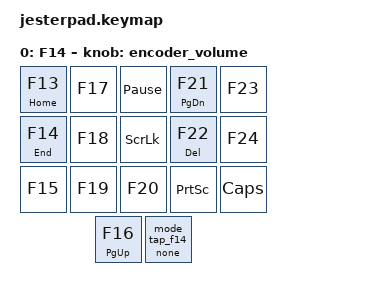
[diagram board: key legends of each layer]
#include <behaviors.dtsi>
#include <dt-bindings/zmk/keys.h>
#include <dt-bindings/zmk/bt.h>
#include <dt-bindings/zmk/outputs.h>
#include <dt-bindings/zmk/rgb.h>

#define L_NUMPAD 0
#define L_MACROS 1
#define L_F14 2
#define L_F4 3
#define L_ADMIN 4

/ {
    macros {
        mode_to_numpad: mode_to_numpad {
            compatible = "zmk,behavior-macro";
            #binding-cells = <0>;
            wait-ms = <0>;
            tap-ms = <0>;
            bindings = <&macro_tap &rgb_mode_numpad>, <&macro_tap &to L_NUMPAD>;
        };

        mode_to_macros: mode_to_macros {
            compatible = "zmk,behavior-macro";
            #binding-cells = <0>;
            wait-ms = <0>;
            tap-ms = <0>;
            bindings = <&macro_tap &rgb_mode_macros>, <&macro_tap &to L_MACROS>;
        };

        mode_to_f14: mode_to_f14 {
            compatible = "zmk,behavior-macro";
            #binding-cells = <0>;
            wait-ms = <0>;
            tap-ms = <0>;
            bindings = <&macro_tap &rgb_mode_f14>, <&macro_tap &to L_F14>;
        };

        mode_to_f4: mode_to_f4 {
            compatible = "zmk,behavior-macro";
            #binding-cells = <0>;
            wait-ms = <0>;
            tap-ms = <0>;
            bindings = <&macro_tap &rgb_mode_f4>, <&macro_tap &to L_F4>;
        };

        mode_to_admin: mode_to_admin {
            compatible = "zmk,behavior-macro";
            #binding-cells = <0>;
            wait-ms = <0>;
            tap-ms = <0>;
            bindings = <&macro_tap &rgb_mode_admin>, <&macro_tap &to L_ADMIN>;
        };

        mode_tap_numpad: mode_tap_numpad {
            compatible = "zmk,behavior-macro";
            #binding-cells = <0>;
            wait-ms = <0>;
            tap-ms = <0>;
            bindings = <&macro_tap &none>;
        };

        mode_tap_macros: mode_tap_macros {
            compatible = "zmk,behavior-macro";
            #binding-cells = <0>;
            wait-ms = <0>;
            tap-ms = <0>;
            bindings = <&macro_tap &kp PSCRN>;
        };

        mode_tap_f14: mode_tap_f14 {
            compatible = "zmk,behavior-macro";
            #binding-cells = <0>;
            wait-ms = <0>;
            tap-ms = <0>;
            bindings = <&macro_tap &kp INS>;
        };

        mode_tap_f4: mode_tap_f4 {
            compatible = "zmk,behavior-macro";
            #binding-cells = <0>;
            wait-ms = <0>;
            tap-ms = <0>;
            bindings = <&macro_tap &none>;
        };

        mode_tap_admin: mode_tap_admin {
            compatible = "zmk,behavior-macro";
            #binding-cells = <0>;
            wait-ms = <0>;
            tap-ms = <0>;
            bindings = <&macro_tap &rgb_ug RGB_TOG>;
        };

        // (reserved for future macros)
    };

    behaviors { // Updated in commit f58f545 for volume encoder
        encoder_volume: encoder_volume {
            compatible = "zmk,behavior-sensor-rotate";
            #sensor-binding-cells = <0>;
            bindings = <&kp C_VOL_DN>, <&kp C_VOL_UP>;
        };

        // F-14 dual-function (tap/hold) keys.
        // Hold-tap requires two binding cells, but we don't need params; we pass 0 0 at use-sites.
        f14_25_tws: f14_25_tws {
            compatible = "zmk,behavior-hold-tap";
            #binding-cells = <2>;
            flavor = "tap-preferred";
            tapping-term-ms = <500>;
            bindings = <&kp &kp>;
        };

        f14_50_rws: f14_50_rws {
            compatible = "zmk,behavior-hold-tap";
            #binding-cells = <2>;
            flavor = "tap-preferred";
            tapping-term-ms = <500>;
            bindings = <&kp &kp>;
        };

        f14_200_400: f14_200_400 {
            compatible = "zmk,behavior-hold-tap";
            #binding-cells = <2>;
            flavor = "tap-preferred";
            tapping-term-ms = <500>;
            bindings = <&kp &kp>;
        };

        f14_r1_tacan: f14_r1_tacan {
            compatible = "zmk,behavior-hold-tap";
            #binding-cells = <2>;
            flavor = "tap-preferred";
            tapping-term-ms = <500>;
            bindings = <&kp &kp>;
        };

        f14_r2_datalink: f14_r2_datalink {
            compatible = "zmk,behavior-hold-tap";
            #binding-cells = <2>;
            flavor = "tap-preferred";
            tapping-term-ms = <500>;
            bindings = <&kp &kp>;
        };

        // Underglow effect indexes (ZMK core): 0=solid, 1=breathe, 2=spectrum, 3=swirl.
        rgb_mode_numpad: rgb_mode_numpad {
            compatible = "zmk,behavior-rgb-preset";
            #binding-cells = <0>;
            effect = <0>;
            h = <0>;
            s = <0>;
            b = <100>;
            speed = <3>;
        };

        rgb_mode_macros: rgb_mode_macros {
            compatible = "zmk,behavior-rgb-preset";
            #binding-cells = <0>;
            effect = <0>;
            h = <180>;
            s = <100>;
            b = <100>;
            speed = <3>;
        };

        rgb_mode_f14: rgb_mode_f14 {
            compatible = "zmk,behavior-rgb-preset";
            #binding-cells = <0>;
            effect = <0>;
            h = <30>;
            s = <100>;
            b = <100>;
            speed = <3>;
        };

        rgb_mode_f4: rgb_mode_f4 {
            compatible = "zmk,behavior-rgb-preset";
            #binding-cells = <0>;
            effect = <0>;
            h = <120>;
            s = <100>;
            b = <100>;
            speed = <3>;
        };

        rgb_mode_admin: rgb_mode_admin {
            compatible = "zmk,behavior-rgb-preset";
            #binding-cells = <0>;
            effect = <3>;
            h = <270>;
            s = <100>;
            b = <100>;
            speed = <1>;
        };

        mode_key_numpad: mode_key_numpad {
            compatible = "zmk,behavior-hold-tap";
            #binding-cells = <2>;
            flavor = "tap-preferred";
            tapping-term-ms = <2000>;
            bindings = <&mode_to_macros>, <&mode_tap_numpad>;
        };

        mode_key_macros: mode_key_macros {
            compatible = "zmk,behavior-hold-tap";
            #binding-cells = <2>;
            flavor = "tap-preferred";
            tapping-term-ms = <2000>;
            bindings = <&mode_to_f14>, <&mode_tap_macros>;
        };

        mode_key_f14: mode_key_f14 {
            compatible = "zmk,behavior-hold-tap";
            #binding-cells = <2>;
            flavor = "tap-preferred";
            tapping-term-ms = <2000>;
            bindings = <&none>, <&mode_tap_f14>;
        };

        mode_key_f4: mode_key_f4 {
            compatible = "zmk,behavior-hold-tap";
            #binding-cells = <2>;
            flavor = "tap-preferred";
            tapping-term-ms = <2000>;
            bindings = <&mode_to_admin>, <&mode_tap_f4>;
        };

        mode_key_admin: mode_key_admin {
            compatible = "zmk,behavior-hold-tap";
            #binding-cells = <2>;
            flavor = "tap-preferred";
            tapping-term-ms = <2000>;
            bindings = <&mode_to_numpad>, <&mode_tap_admin>;
        };

        bt_pair_hold: bt_pair_hold {
            compatible = "zmk,behavior-bt-hold";
            #binding-cells = <0>;
            hold-ms = <5000>;
            profile = <0>;
        };

        bt_clear_all_hold: bt_clear_all_hold {
            compatible = "zmk,behavior-bt-hold";
            #binding-cells = <0>;
            hold-ms = <10000>;
            clear-all;
            profile = <0>;
        };

        rgb_brightness_cycle: rgb_brightness_cycle {
            compatible = "zmk,behavior-rgb-cycle";
            #binding-cells = <0>;
            mode = "brightness";
        };

        rgb_speed_cycle: rgb_speed_cycle {
            compatible = "zmk,behavior-rgb-cycle";
            #binding-cells = <0>;
            mode = "speed";
        };
    };

    combos {
        compatible = "zmk,combos";

        pair_combo: pair_combo {
            timeout-ms = <500>;
            slow-release;
            key-positions = <0 5 10 15 16>; // 1, 6, Q, Y, U chord
            bindings = <&bt_pair_hold>;
        };
    };

    keymap {
        compatible = "zmk,keymap";
        default_layer {
            display-name = "F14";
            bindings = <
                // Column 1 (bottom -> top): 25nm, GND STAB, Jester Toggle, Radio 1, Ready/Pre-Contact
                &f14_25_tws HOME F13 &kp F17 &kp PAUSE_BREAK &f14_r1_tacan PG_DN F21 &kp F23

                // Column 2 (bottom -> top): 50nm, AC STAB, Torch, Radio 2, Ball Call
                &f14_50_rws END F14 &kp F18 &kp SCROLLLOCK &f14_r2_datalink DEL F22 &kp F24

                // Column 3 (bottom -> top): 100nm, Lock Specific, PSTT/PD-STT, Break Lock, Salute
                &kp F15 &kp F19 &kp F20 &kp PSCRN &kp CAPSLOCK

                // Column 4/5 bottom keys: 200nm, Range Auto (tap) / Mode cycle (hold)
                &f14_200_400 PG_UP F16 &mode_key_f14 0 0
            >;
            sensor-bindings = <&encoder_volume>;
        };

#if 0
        /* Disabled layers (kept for future use) */
        default_layer {
            display-name = "NUMPAD";
            bindings = <
                &kp KP_N0 &kp KP_N1 &kp KP_N4 &kp KP_N7 &kp KP_SLASH
                &kp KP_DOT &kp KP_N2 &kp KP_N5 &kp KP_N8 &kp KP_ASTERISK
                &kp KP_ENTER &kp KP_N3 &kp KP_N6 &kp KP_N9 &kp KP_MINUS
                &kp KP_PLUS &mode_key_numpad 0 0
                &kp ENTER
            >;
            sensor-bindings = <&encoder_volume>;
        };

        macros_layer {
            display-name = "MACROS";
            bindings = <
                &kp C_PLAY_PAUSE &kp C_AC_COPY &kp C_AC_UNDO &kp LG(D) &kp HOME
                &kp C_PREVIOUS &kp C_AC_PASTE &kp C_AC_REDO &kp LG(E) &kp PG_UP
                &kp C_NEXT &kp C_AC_CUT &kp C_AC_FIND &kp LG(L) &kp PG_DN
                &kp C_MUTE &mode_key_macros 0 0
                &kp ENTER
            >;
            sensor-bindings = <&encoder_volume>;
        };

        f4_layer {
            display-name = "F4";
            bindings = <
                &none &none &none &none &none
                &none &none &none &none &none
                &none &none &none &none &none
                &none &mode_key_f4 0 0
                &none
            >;
            sensor-bindings = <&encoder_volume>;
        };

        admin_layer {
            display-name = "ADMIN";
            bindings = <
                &bt BT_CLR &bt_clear_all_hold &bt BT_NXT &out OUT_TOG &rgb_ug RGB_TOG
                &bt BT_SEL 0 &bt BT_SEL 1 &bt BT_SEL 2 &bt BT_SEL 3 &bt BT_SEL 4
                &rgb_ug RGB_HUD &rgb_ug RGB_HUI &rgb_brightness_cycle &rgb_speed_cycle &rgb_ug RGB_EFF
                &bootloader &mode_key_admin 0 0
                &sys_reset
            >;
            sensor-bindings = <&encoder_volume>;
        };
#endif
    };
};
